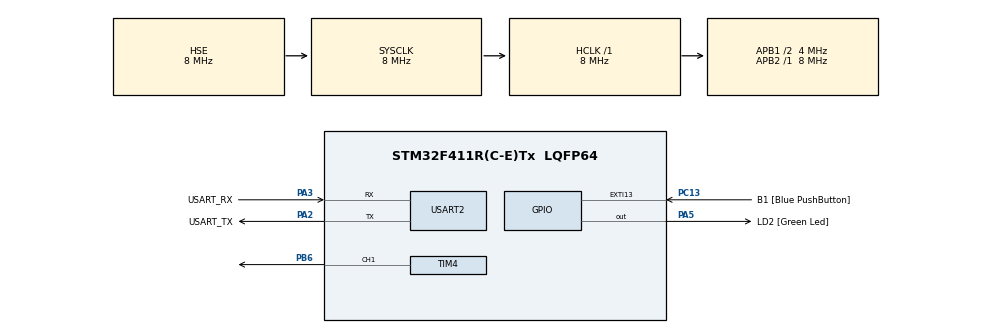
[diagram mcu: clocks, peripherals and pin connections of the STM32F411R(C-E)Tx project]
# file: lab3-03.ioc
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Mcu.Family=STM32F4
Mcu.Name=STM32F411R(C-E)Tx
Mcu.Package=LQFP64
NVIC.PriorityGroup=NVIC_PRIORITYGROUP_0
NVIC.TIM1_UP_TIM10_IRQn=true\:0\:0\:false\:false\:true\:true\:true\:true
NVIC.TIM3_IRQn=true\:0\:0\:false\:false\:true\:true\:true\:true
NVIC.TIM4_IRQn=true\:0\:0\:false\:false\:true\:true\:true\:true
PA13.GPIO_Label=TMS
PA13.Mode=Serial_Wire
PA13.Signal=SYS_JTMS-SWDIO
PA14.GPIO_Label=TCK
PA14.Mode=Serial_Wire
PA14.Signal=SYS_JTCK-SWCLK
PA2.GPIO_Label=USART_TX
PA2.Mode=Asynchronous
PA2.Signal=USART2_TX
PA3.GPIO_Label=USART_RX
PA3.Mode=Asynchronous
PA3.Signal=USART2_RX
PA5.GPIO_Label=LD2 [Green Led]
PA5.Signal=GPIO_Output
PB3.GPIO_Label=SWO
PB3.Signal=SYS_JTDO-SWO
PB6.Signal=S_TIM4_CH1
PC13-ANTI_TAMP.GPIO_Label=B1 [Blue PushButton]
PC13-ANTI_TAMP.GPIO_ModeDefaultEXTI=GPIO_MODE_IT_FALLING
PC13-ANTI_TAMP.Signal=GPXTI13
PC14-OSC32_IN.Mode=LSE-External-Oscillator
PC14-OSC32_IN.Signal=RCC_OSC32_IN
PC15-OSC32_OUT.Mode=LSE-External-Oscillator
PC15-OSC32_OUT.Signal=RCC_OSC32_OUT
PH0\ -\ OSC_IN.Mode=HSE-External-Clock-Source
PH0\ -\ OSC_IN.Signal=RCC_OSC_IN
PH1\ -\ OSC_OUT.Mode=HSE-External-Clock-Source
PH1\ -\ OSC_OUT.Signal=RCC_OSC_OUT
ProjectManager.HeapSize=0x200
ProjectManager.StackSize=0x400
ProjectManager.TargetToolchain=STM32CubeIDE
RCC.48MHZClocksFreq_Value=42000000
RCC.AHBFreq_Value=8000000
RCC.APB1CLKDivider=RCC_HCLK_DIV2
RCC.APB1Freq_Value=4000000
RCC.APB1TimFreq_Value=8000000
RCC.APB2Freq_Value=8000000
RCC.APB2TimFreq_Value=8000000
RCC.CortexFreq_Value=8000000
RCC.FLatency-AdvancedSettings=FLASH_LATENCY_0
RCC.HCLKFreq_Value=8000000
RCC.HSE_VALUE=8000000
RCC.HSI_VALUE=16000000
RCC.PLLN=336
RCC.PLLP=RCC_PLLP_DIV4
RCC.PLLSourceVirtual=RCC_PLLSOURCE_HSE
RCC.SYSCLKFreq_VALUE=8000000
RCC.SYSCLKSource=RCC_SYSCLKSOURCE_HSE
RCC.VCOOutputFreq_Value=168000000
SH.S_TIM4_CH1.0=TIM4_CH1,PWM Generation1 CH1
TIM10.Period=9998
TIM10.Prescaler=799
TIM3.AutoReloadPreload=TIM_AUTORELOAD_PRELOAD_ENABLE
TIM3.Period=249
TIM3.Prescaler=7999
TIM4.AutoReloadPreload=TIM_AUTORELOAD_PRELOAD_ENABLE
TIM4.Channel-PWM\ Generation1\ CH1=TIM_CHANNEL_1
TIM4.Period=9809
TIM4.Prescaler=399
TIM4.Pulse-PWM\ Generation1\ CH1=4905
USART2.VirtualMode=VM_ASYNC
VP_TIM10_VS_ClockSourceINT.Mode=Enable_Timer
VP_TIM3_VS_ClockSourceINT.Mode=Internal
VP_TIM4_VS_ClockSourceINT.Mode=Internal
board=NUCLEO-F411RE

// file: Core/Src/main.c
/* USER CODE BEGIN Header */
/**
 ******************************************************************************
 * @file           : main.c
 * @brief          : Main program body
 ******************************************************************************
 * @attention
 *
 * Copyright (c) 2024 STMicroelectronics.
 * All rights reserved.
 *
 * This software is licensed under terms that can be found in the LICENSE file
 * in the root directory of this software component.
 * If no LICENSE file comes with this software, it is provided AS-IS.
 *
 ******************************************************************************
 */
/* USER CODE END Header */
#include "main.h"

/* USER CODE BEGIN Includes */
#include <stdio.h>
#include <stdlib.h>
#include <string.h>
/* USER CODE END Includes */

TIM_HandleTypeDef htim3;
TIM_HandleTypeDef htim4;
TIM_HandleTypeDef htim10;

UART_HandleTypeDef huart2;

void SystemClock_Config(void);
static void MX_GPIO_Init(void);
static void MX_USART2_UART_Init(void);
static void MX_TIM3_Init(void);
static void MX_TIM4_Init(void);
static void MX_TIM10_Init(void);

/* USER CODE BEGIN 0 */
int internalLEDEdgeCount = 0;
int externalLEDCount = 0;
int currentColor = 30;

void HAL_TIM_PeriodElapsedCallback(TIM_HandleTypeDef *htim) {
	if (htim == &htim3) {
		HAL_GPIO_TogglePin(GPIOA, GPIO_PIN_5);
		internalLEDEdgeCount += 1;
	} else if (htim == &htim4) {
		externalLEDCount += 1;
	} else if (htim == &htim10) {
		int currentTime = HAL_GetTick();
		char *message = (char*) malloc(sizeof(char) * 100);
		sprintf(message, "\e[0;%dmTime: %d, Internal LED: %d, External LED: %d\e[0m\r\n",
				currentColor, currentTime, internalLEDEdgeCount / 2, externalLEDCount);
		HAL_UART_Transmit(&huart2, message, strlen(message), 100);
		free(message);

		currentColor++;
		if (currentColor > 37) {
			currentColor = 30;
		}
	}
}
/* USER CODE END 0 */

int main(void)
{

  /* MCU Configuration--------------------------------------------------------*/

  /* Reset of all peripherals, Initializes the Flash interface and the Systick. */
  HAL_Init();

  /* Configure the system clock */
  SystemClock_Config();

  /* Initialize all configured peripherals */
  MX_GPIO_Init();
  MX_USART2_UART_Init();
  MX_TIM3_Init();
  MX_TIM4_Init();
  MX_TIM10_Init();
  /* USER CODE BEGIN 2 */
	HAL_TIM_PWM_Start(&htim4, TIM_CHANNEL_1);
	HAL_TIM_Base_Start_IT(&htim3);
	HAL_TIM_Base_Start_IT(&htim4);
	HAL_TIM_Base_Start_IT(&htim10);
  /* USER CODE END 2 */

  /* Infinite loop */
	while (1) {

	}
}

void SystemClock_Config(void)
{
  RCC_OscInitTypeDef RCC_OscInitStruct = {0};
  RCC_ClkInitTypeDef RCC_ClkInitStruct = {0};

  /** Configure the main internal regulator output voltage
  */
  __HAL_RCC_PWR_CLK_ENABLE();
  __HAL_PWR_VOLTAGESCALING_CONFIG(PWR_REGULATOR_VOLTAGE_SCALE1);

  /** Initializes the RCC Oscillators according to the specified parameters
  * in the RCC_OscInitTypeDef structure.
  */
  RCC_OscInitStruct.OscillatorType = RCC_OSCILLATORTYPE_HSE;
  RCC_OscInitStruct.HSEState = RCC_HSE_BYPASS;
  RCC_OscInitStruct.PLL.PLLState = RCC_PLL_NONE;
  if (HAL_RCC_OscConfig(&RCC_OscInitStruct) != HAL_OK)
  {
    Error_Handler();
  }

  /** Initializes the CPU, AHB and APB buses clocks
  */
  RCC_ClkInitStruct.ClockType = RCC_CLOCKTYPE_HCLK|RCC_CLOCKTYPE_SYSCLK
                              |RCC_CLOCKTYPE_PCLK1|RCC_CLOCKTYPE_PCLK2;
  RCC_ClkInitStruct.SYSCLKSource = RCC_SYSCLKSOURCE_HSE;
  RCC_ClkInitStruct.AHBCLKDivider = RCC_SYSCLK_DIV1;
  RCC_ClkInitStruct.APB1CLKDivider = RCC_HCLK_DIV2;
  RCC_ClkInitStruct.APB2CLKDivider = RCC_HCLK_DIV1;

  if (HAL_RCC_ClockConfig(&RCC_ClkInitStruct, FLASH_LATENCY_0) != HAL_OK)
  {
    Error_Handler();
  }
}

static void MX_TIM3_Init(void)
{

  TIM_ClockConfigTypeDef sClockSourceConfig = {0};
  TIM_MasterConfigTypeDef sMasterConfig = {0};

  htim3.Instance = TIM3;
  htim3.Init.Prescaler = 7999;
  htim3.Init.CounterMode = TIM_COUNTERMODE_UP;
  htim3.Init.Period = 249;
  htim3.Init.ClockDivision = TIM_CLOCKDIVISION_DIV1;
  htim3.Init.AutoReloadPreload = TIM_AUTORELOAD_PRELOAD_ENABLE;
  if (HAL_TIM_Base_Init(&htim3) != HAL_OK)
  {
    Error_Handler();
  }
  sClockSourceConfig.ClockSource = TIM_CLOCKSOURCE_INTERNAL;
  if (HAL_TIM_ConfigClockSource(&htim3, &sClockSourceConfig) != HAL_OK)
  {
    Error_Handler();
  }
  sMasterConfig.MasterOutputTrigger = TIM_TRGO_RESET;
  sMasterConfig.MasterSlaveMode = TIM_MASTERSLAVEMODE_DISABLE;
  if (HAL_TIMEx_MasterConfigSynchronization(&htim3, &sMasterConfig) != HAL_OK)
  {
    Error_Handler();
  }

}

static void MX_TIM4_Init(void)
{

  TIM_ClockConfigTypeDef sClockSourceConfig = {0};
  TIM_MasterConfigTypeDef sMasterConfig = {0};
  TIM_OC_InitTypeDef sConfigOC = {0};

  htim4.Instance = TIM4;
  htim4.Init.Prescaler = 399;
  htim4.Init.CounterMode = TIM_COUNTERMODE_UP;
  htim4.Init.Period = 9809;
  htim4.Init.ClockDivision = TIM_CLOCKDIVISION_DIV1;
  htim4.Init.AutoReloadPreload = TIM_AUTORELOAD_PRELOAD_ENABLE;
  if (HAL_TIM_Base_Init(&htim4) != HAL_OK)
  {
    Error_Handler();
  }
  sClockSourceConfig.ClockSource = TIM_CLOCKSOURCE_INTERNAL;
  if (HAL_TIM_ConfigClockSource(&htim4, &sClockSourceConfig) != HAL_OK)
  {
    Error_Handler();
  }
  if (HAL_TIM_PWM_Init(&htim4) != HAL_OK)
  {
    Error_Handler();
  }
  sMasterConfig.MasterOutputTrigger = TIM_TRGO_RESET;
  sMasterConfig.MasterSlaveMode = TIM_MASTERSLAVEMODE_DISABLE;
  if (HAL_TIMEx_MasterConfigSynchronization(&htim4, &sMasterConfig) != HAL_OK)
  {
    Error_Handler();
  }
  sConfigOC.OCMode = TIM_OCMODE_PWM1;
  sConfigOC.Pulse = 4905;
  sConfigOC.OCPolarity = TIM_OCPOLARITY_HIGH;
  sConfigOC.OCFastMode = TIM_OCFAST_DISABLE;
  if (HAL_TIM_PWM_ConfigChannel(&htim4, &sConfigOC, TIM_CHANNEL_1) != HAL_OK)
  {
    Error_Handler();
  }
  HAL_TIM_MspPostInit(&htim4);

}

static void MX_TIM10_Init(void)
{

  htim10.Instance = TIM10;
  htim10.Init.Prescaler = 799;
  htim10.Init.CounterMode = TIM_COUNTERMODE_UP;
  htim10.Init.Period = 9998;
  htim10.Init.ClockDivision = TIM_CLOCKDIVISION_DIV1;
  htim10.Init.AutoReloadPreload = TIM_AUTORELOAD_PRELOAD_DISABLE;
  if (HAL_TIM_Base_Init(&htim10) != HAL_OK)
  {
    Error_Handler();
  }

}

static void MX_USART2_UART_Init(void)
{

  huart2.Instance = USART2;
  huart2.Init.BaudRate = 115200;
  huart2.Init.WordLength = UART_WORDLENGTH_8B;
  huart2.Init.StopBits = UART_STOPBITS_1;
  huart2.Init.Parity = UART_PARITY_NONE;
  huart2.Init.Mode = UART_MODE_TX_RX;
  huart2.Init.HwFlowCtl = UART_HWCONTROL_NONE;
  huart2.Init.OverSampling = UART_OVERSAMPLING_16;
  if (HAL_UART_Init(&huart2) != HAL_OK)
  {
    Error_Handler();
  }

}

static void MX_GPIO_Init(void)
{
  GPIO_InitTypeDef GPIO_InitStruct = {0};

  /* GPIO Ports Clock Enable */
  __HAL_RCC_GPIOC_CLK_ENABLE();
  __HAL_RCC_GPIOH_CLK_ENABLE();
  __HAL_RCC_GPIOA_CLK_ENABLE();
  __HAL_RCC_GPIOB_CLK_ENABLE();

  /*Configure GPIO pin Output Level */
  HAL_GPIO_WritePin(LD2_GPIO_Port, LD2_Pin, GPIO_PIN_RESET);

  /*Configure GPIO pin : B1_Pin */
  GPIO_InitStruct.Pin = B1_Pin;
  GPIO_InitStruct.Mode = GPIO_MODE_IT_FALLING;
  GPIO_InitStruct.Pull = GPIO_NOPULL;
  HAL_GPIO_Init(B1_GPIO_Port, &GPIO_InitStruct);

  /*Configure GPIO pin : LD2_Pin */
  GPIO_InitStruct.Pin = LD2_Pin;
  GPIO_InitStruct.Mode = GPIO_MODE_OUTPUT_PP;
  GPIO_InitStruct.Pull = GPIO_NOPULL;
  GPIO_InitStruct.Speed = GPIO_SPEED_FREQ_LOW;
  HAL_GPIO_Init(LD2_GPIO_Port, &GPIO_InitStruct);

}

void Error_Handler(void)
{
	__disable_irq();
	while (1) {
	}
}
